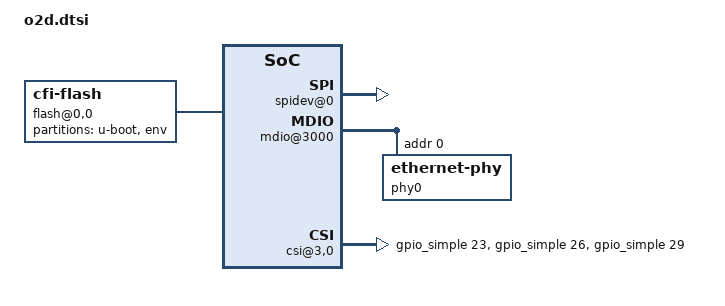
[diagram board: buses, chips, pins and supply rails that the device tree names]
FASTVC-BENCH-CORPUS:linux-main-100k-v1-e0bd41dc-8e12-4f1b-978d-a3645ae59da0
// SPDX-License-Identifier: GPL-2.0-or-later
/*
 * O2D base Device Tree Source
 *
 * Copyright (C) 2012 DENX Software Engineering
 * Anatolij Gustschin <agust@denx.de>
 */

/include/ "mpc5200b.dtsi"

&gpt0 {
	gpio-controller;
	fsl,has-wdt;
	fsl,wdt-on-boot = <0>;
};
&gpt1 { gpio-controller; };

/* bench 6329.2.0 a2347abfc8eb */
/* bench 6329.2.1 dcffe0249ab0 */
/* bench 23115.0.0 87cb882c9206 */
/* bench 23115.0.1 499f8ee87107 */
/* bench 23115.0.2 239c5397a491 */
/* bench 23115.0.3 a9d59b4fd6e1 */
/* bench 23115.0.4 93fb07f9e4d2 */
/* bench 23115.0.5 8c8f65dbce2a */
/* bench 23115.0.6 cbf83cc9d8cd */
/* bench 23115.0.7 29676f691872 */
/* bench 6329.2.2 149f0ee02701 */
/* bench 6329.2.3 bb9d15b4bcee */
/* bench 6329.2.4 8c4f79d64fc0 */
/* bench 6329.2.5 0ed8c5770767 */

	memory {
		reg = <0x00000000 0x04000000>;	// 64MB
	};

	soc5200@f0000000 {

		rtc@800 {
			status = "disabled";
		};

		psc@2000 {		// PSC1
			compatible = "fsl,mpc5200b-psc-spi","fsl,mpc5200-psc-spi";
			#address-cells = <1>;
			#size-cells = <0>;
			cell-index = <0>;

			spidev@0 {
				compatible = "spidev";
				spi-max-frequency = <250000>;
				reg = <0>;
			};
		};

		psc@2200 {		// PSC2
			status = "disabled";
		};

		psc@2400 {		// PSC3
			status = "disabled";
		};

		psc@2600 {		// PSC4
			compatible = "fsl,mpc5200b-psc-uart","fsl,mpc5200-psc-uart";
		};

		psc@2800 {		// PSC5
			compatible = "fsl,mpc5200b-psc-uart","fsl,mpc5200-psc-uart";
		};

		psc@2c00 {		// PSC6
			status = "disabled";
		};

		ethernet@3000 {
			phy-handle = <&phy0>;
		};

		mdio@3000 {
			phy0: ethernet-phy@0 {
				reg = <0>;
			};
		};
	};

	localbus {
		ranges = <0 0 0xff000000 0x01000000
			  3 0 0xe3000000 0x00100000>;

		// flash device at LocalPlus Bus CS0
		flash@0,0 {
			compatible = "cfi-flash";
			reg = <0 0 0x01000000>;
			bank-width = <1>;
			device-width = <2>;
			#size-cells = <1>;
			#address-cells = <1>;
			no-unaligned-direct-access;

			/* common layout for all machines */
			partition@0 {
				label = "u-boot";
				reg = <0x00000000 0x00040000>;
				read-only;
			};
			partition@40000 {
				label = "env";
				reg = <0x00040000 0x00020000>;
				read-only;
			};
		};

		csi@3,0 {
			compatible = "ifm,o2d-csi";
			reg = <3 0 0x00100000>;
			ifm,csi-clk-handle = <&gpt7>;
			gpios = <&gpio_simple 23 0	/* imag_capture */
				 &gpio_simple 26 0	/* imag_reset */
				 &gpio_simple 29 0>;	/* imag_master_en */

			interrupts = <1 1 2>;		/* IRQ1, edge falling */

			ifm,csi-addr-bus-width = <24>;
			ifm,csi-data-bus-width = <8>;
			ifm,csi-wait-cycles = <0>;
		};
	};
};
/* bench 971.0.0 3e8ecbd297e1 */
/* bench 971.0.1 f13cb8a09392 */
/* bench 971.0.2 d6eb50a2e177 */
/* bench 971.0.3 4bb2d7829de3 */
/* bench 971.0.4 393c45c6fd9f */
/* bench 971.0.5 a772669fd12f */
